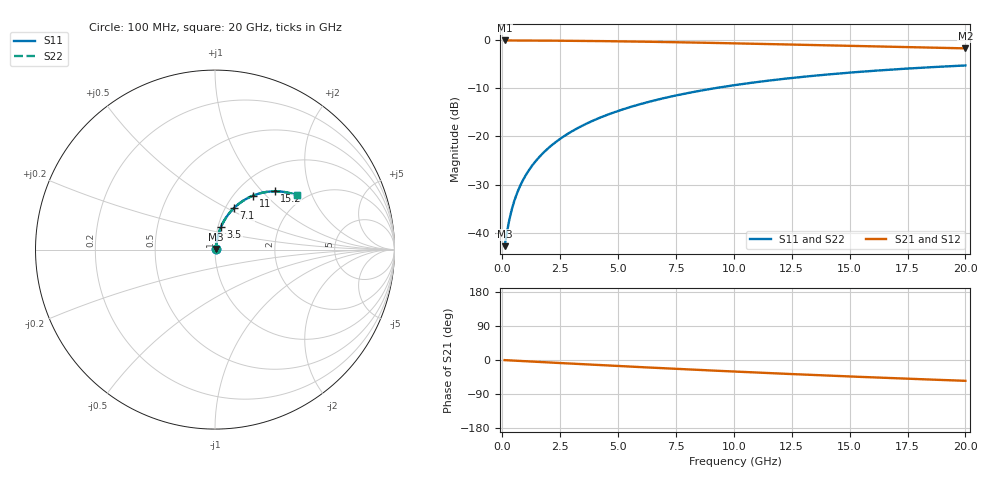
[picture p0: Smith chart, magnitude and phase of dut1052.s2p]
! Touchstone file exported from HFSS 2026.1.0
!  File:  C:/ffzhzh/LocalFiles/Ansys_Project_Files/temp_train_TMRDL_1052_1783160413_55132.aedt
!  Generated:  06:21:27 PM Jul  4, 2026
!  Design:  TMRDL
!  Project:  temp_train_TMRDL_1052_1783160413_55132
! Variables:
!  h_bsmrdl = 2um
!  h_ox = 20um
!  h_rdl = 5um
!  h_sub = 80um
!  h_tmrdl = 3.07um
!  h_tsv = 80um
!  h_via = 3um
!  l_bsmrdl = 300um
!  l_sub = 1197.06um
!  l_tmrdl = 797.06um
!  m_sub = 200um
!  pitch = 48.37um
!  r_tsv = 6um
!  s_tmrdl = 10um
!  w_bsmrdl = 18um
!  w_sub = 500um
!  w_tmrdl = 15.33um
!  x_tsv_center1 = 804.725um
!  x_tsv_center2 = 1122.725um
!  x_tsv_center3 = 1935.115um
!  x_tsv_center4 = 2253.115um
!  x_tsv_center5 = 3065.505um
!  x_tsv_center6 = 3383.505um
# GHz S MA R 50.000000
! Terminal data exported
! Port[1] = TM_RDL1_1_T1
! Port[2] = TM_RDL1_1_T2
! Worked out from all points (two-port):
!   200 points, 100 MHz to 20 GHz, reference 50 ohm
!   highest |S21| = -0.05 dB at 100 MHz (marker M1); lowest = -1.7 dB at 20 GHz (marker M2)
!   |S21| within 3 dB of the highest: start of sweep to end of sweep
!   lowest |S11| = -42.8 dB at 100 MHz (marker M3), VSWR 1.01, Z = 50.6 + j0.404 ohm
!   |S11| at or under -10 dB: start of sweep to 9.143 GHz
!   |S22| runs from -42.8 to -5.2 dB; largest |S21 - S12| = 7.7e-15
!   S11 on the Smith chart (normalised r, x): 100 MHz: 1.01, +0.01; 3.5 GHz: 1.03, +0.27; 7.1 GHz: 1.10, +0.54; 11 GHz: 1.21, +0.84; 15.2 GHz: 1.42, +1.18; 20 GHz: 1.81, +1.56
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0.1  0.007262 33.3  0.9939 -0.3  0.9939 -0.3  0.007262 33.3
! Gamma 0 0 0 0
! Port Impedance 50 0 50 0
0.2  0.0101 51.8  0.9938 -0.7  0.9938 -0.7  0.0101 51.8
0.3  0.01351 61.2  0.9936 -1.0  0.9936 -1.0  0.01351 61.2
0.4  0.0171 66.5  0.9934 -1.3  0.9934 -1.3  0.0171 66.5
0.5  0.02075 69.8  0.9932 -1.6  0.9932 -1.6  0.02075 69.8
0.6  0.02442 72.0  0.993 -2.0  0.993 -2.0  0.02442 72.0
0.8  0.03178 74.7  0.9926 -2.6  0.9926 -2.6  0.03178 74.7
1.1  0.04285 76.7  0.9919 -3.6  0.9919 -3.6  0.04285 76.7
1.6  0.06136 77.8  0.9907 -5.2  0.9907 -5.2  0.06136 77.8
2.1  0.07986 77.7  0.9892 -6.7  0.9892 -6.7  0.07986 77.7
2.7  0.102 76.9  0.9869 -8.6  0.9869 -8.6  0.102 76.9
3.5  0.1311 75.2  0.9831 -11.2  0.9831 -11.2  0.1311 75.2
5  0.1841 71.3  0.9737 -15.8  0.9737 -15.8  0.1841 71.3
6.8  0.2444 66.3  0.9594 -21.2  0.9594 -21.2  0.2444 66.3
7.1  0.254 65.5  0.9567 -22.1  0.9567 -22.1  0.2541 65.5
8.5  0.2973 61.6  0.9434 -26.2  0.9434 -26.2  0.2973 61.6
10.1  0.3432 57.3  0.927 -30.7  0.927 -30.7  0.3433 57.3
11  0.3674 54.9  0.9173 -33.1  0.9173 -33.1  0.3674 54.9
13.4  0.426 48.7  0.8911 -39.4  0.8911 -39.4  0.4261 48.8
15.2  0.4646 44.4  0.8714 -43.9  0.8714 -43.9  0.4646 44.4
16.7  0.4934 40.9  0.8554 -47.5  0.8554 -47.5  0.4934 40.9
20  0.5467 33.6  0.8227 -54.9  0.8227 -54.9  0.5468 33.6
